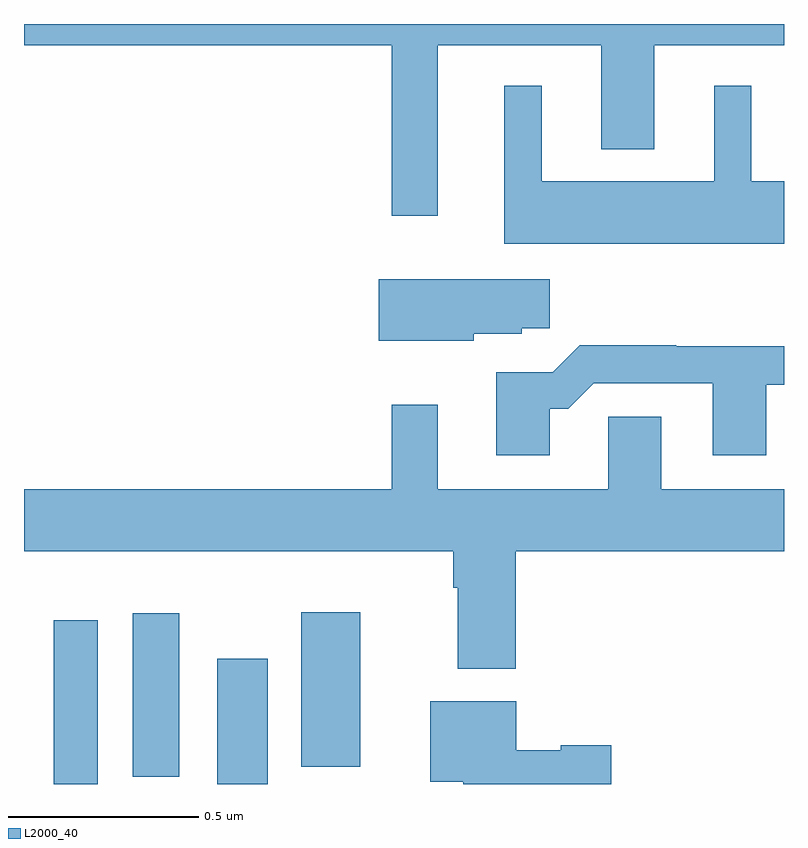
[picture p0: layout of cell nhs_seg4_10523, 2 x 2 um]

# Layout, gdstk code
import gdstk
lib = gdstk.Library(unit=1e-6, precision=1e-09)
def R(c, l, rs):  # rectangles x0, y0, x1, y1
    for r in rs: c.add(gdstk.rectangle(r[:2], r[2:], *l))
def P(c, l, *ps):  # polygons
    for p in ps: c.add(gdstk.Polygon(p, *l))
L2000_40 = (2000, 40)

nhs_seg4_10523 = lib.new_cell('nhs_seg4_10523')
R(nhs_seg4_10523, L2000_40, [(241.078,770.9,241.194,771.331), (241.508,770.9,241.642,771.229), (241.286,770.919,241.408,771.349), (241.73,770.946,241.885,771.352)])
P(nhs_seg4_10523, L2000_40, [(242.089,772.844),(242.519,772.844),(242.519,772.571),(242.659,772.571),(242.659,772.844),(243,772.844),(243,772.9),(241,772.9),(241,772.844),(241.968,772.844),(241.968,772.395),(242.089,772.395)],
  [(243,772.486),(242.914,772.486),(242.914,772.738),(242.816,772.738),(242.816,772.486),(242.362,772.486),(242.362,772.738),(242.264,772.738),(242.264,772.322),(243,772.322)],
  [(242.184,772.085),(242.31,772.085),(242.31,772.099),(242.383,772.099),(242.383,772.228),(241.934,772.228),(241.934,772.067),(242.184,772.067)],
  [(242.383,771.887),(242.432,771.887),(242.499,771.954),(242.813,771.954),(242.813,771.765),(242.953,771.765),(242.953,771.951),(243,771.951),(243,772.052),(242.717,772.052),(242.717,772.055),(242.462,772.055),(242.391,771.984),(242.243,771.984),(242.243,771.765),(242.383,771.765)],
  [(242.294,771.512),(243,771.512),(243,771.676),(242.677,771.676),(242.677,771.866),(242.538,771.866),(242.538,771.676),(242.089,771.676),(242.089,771.898),(241.968,771.898),(241.968,771.676),(241,771.676),(241,771.512),(242.129,771.512),(242.129,771.416),(242.141,771.416),(242.141,771.203),(242.294,771.203)],
  [(242.545,771.002),(242.412,771.002),(242.412,770.989),(242.296,770.989),(242.296,771.118),(242.069,771.118),(242.069,770.906),(242.156,770.906),(242.156,770.9),(242.545,770.9)])

lib.write_gds('nhs_seg4_10523.gds')
